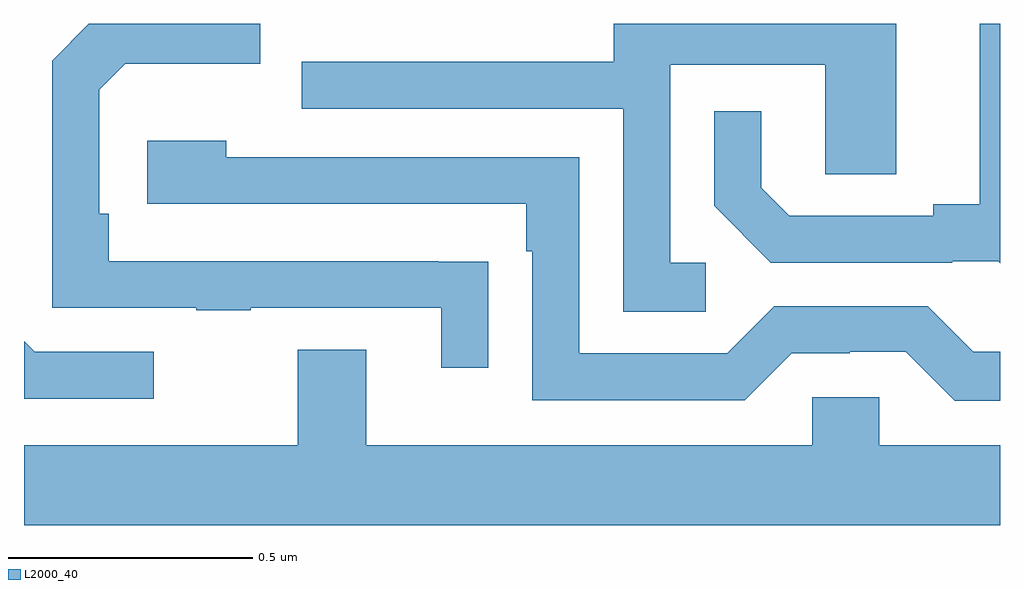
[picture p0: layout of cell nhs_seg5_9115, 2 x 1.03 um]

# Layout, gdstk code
import gdstk
lib = gdstk.Library(unit=1e-6, precision=1e-09)
def P(c, l, *ps):  # polygons
    for p in ps: c.add(gdstk.Polygon(p, *l))
L2000_40 = (2000, 40)

nhs_seg5_9115 = lib.new_cell('nhs_seg5_9115')
P(nhs_seg5_9115, L2000_40, [(230.951,845.312),(230.849,845.312),(230.849,845.313),(230.174,845.313),(230.174,845.41),(230.154,845.41),(230.154,845.664),(230.207,845.717),(230.484,845.717),(230.484,845.799),(230.133,845.799),(230.058,845.724),(230.058,845.217),(230.353,845.217),(230.353,845.212),(230.465,845.212),(230.465,845.217),(230.855,845.217),(230.855,845.094),(230.951,845.094)],
  [(231.397,845.31),(231.324,845.31),(231.324,845.715),(231.642,845.715),(231.642,845.491),(231.787,845.491),(231.787,845.799),(231.209,845.799),(231.209,845.721),(230.569,845.721),(230.569,845.625),(231.228,845.625),(231.228,845.209),(231.397,845.209)],
  [(232,845.799),(231.959,845.799),(231.959,845.429),(231.863,845.429),(231.863,845.406),(231.568,845.406),(231.511,845.463),(231.511,845.62),(231.414,845.62),(231.414,845.426),(231.53,845.31),(231.902,845.31),(231.902,845.313),(231.996,845.313),(232,845.309)],
  [(232,845.127),(231.945,845.127),(231.852,845.22),(231.537,845.22),(231.441,845.124),(231.138,845.124),(231.138,845.526),(230.414,845.526),(230.414,845.56),(230.253,845.56),(230.253,845.43),(231.029,845.43),(231.029,845.333),(231.042,845.333),(231.042,845.028),(231.477,845.028),(231.573,845.124),(231.692,845.124),(231.692,845.127),(231.807,845.127),(231.907,845.027),(232,845.027)],
  [(230.266,845.127),(230.022,845.127),(230,845.149),(230,845.031),(230.266,845.031)],
  [(232,844.936),(231.753,844.936),(231.753,845.034),(231.615,845.034),(231.615,844.936),(230.701,844.936),(230.701,845.131),(230.561,845.131),(230.561,844.936),(230,844.936),(230,844.772),(232,844.772)])

lib.write_gds('nhs_seg5_9115.gds')
